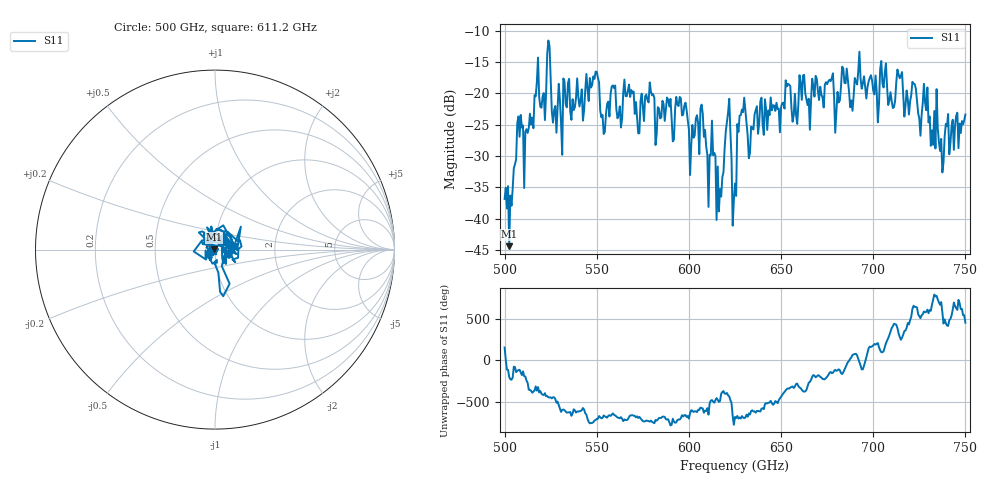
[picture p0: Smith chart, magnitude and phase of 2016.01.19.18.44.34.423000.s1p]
!Created with skrf (http://scikit-rf.org).
# GHz S RI R 50.0
!freq ReS11 ImS11
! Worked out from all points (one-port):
!   401 points, 500 GHz to 750 GHz, reference 50 ohm
!   lowest |S11| = -44.4 dB at 502.5 GHz (marker M1), VSWR 1.01, Z = 49.4 + j0.174 ohm
!   |S11| at or under -10 dB: start of sweep to end of sweep
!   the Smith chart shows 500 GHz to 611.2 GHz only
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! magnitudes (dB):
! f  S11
! 500 GHz  -36.9
! 502.5 GHz  -44.4
! 508.1 GHz  -26.9
! 511.9 GHz  -25.7
! 523.8 GHz  -11.6
! 526.9 GHz  -22.7
! 531.2 GHz  -29.8
! 549.4 GHz  -16.5
! 553.1 GHz  -23.4
! 558.8 GHz  -18.7
! 562.5 GHz  -22.1
! 566.2 GHz  -20.5
! 571.9 GHz  -23.9
! 593.8 GHz  -21.8
! 601.9 GHz  -25.0
! 607.5 GHz  -23.2
! 616.2 GHz  -38.8
! 621.2 GHz  -23.1
! 625 GHz  -34.4
! 628.8 GHz  -22.6
! 633.1 GHz  -29.5
! 656.2 GHz  -24.5
! 687.5 GHz  -22.2
! 714.4 GHz  -17.6
! 718.8 GHz  -20.9
! 728.1 GHz  -21.5
! 736.9 GHz  -27.3
! 750 GHz  -23.4
